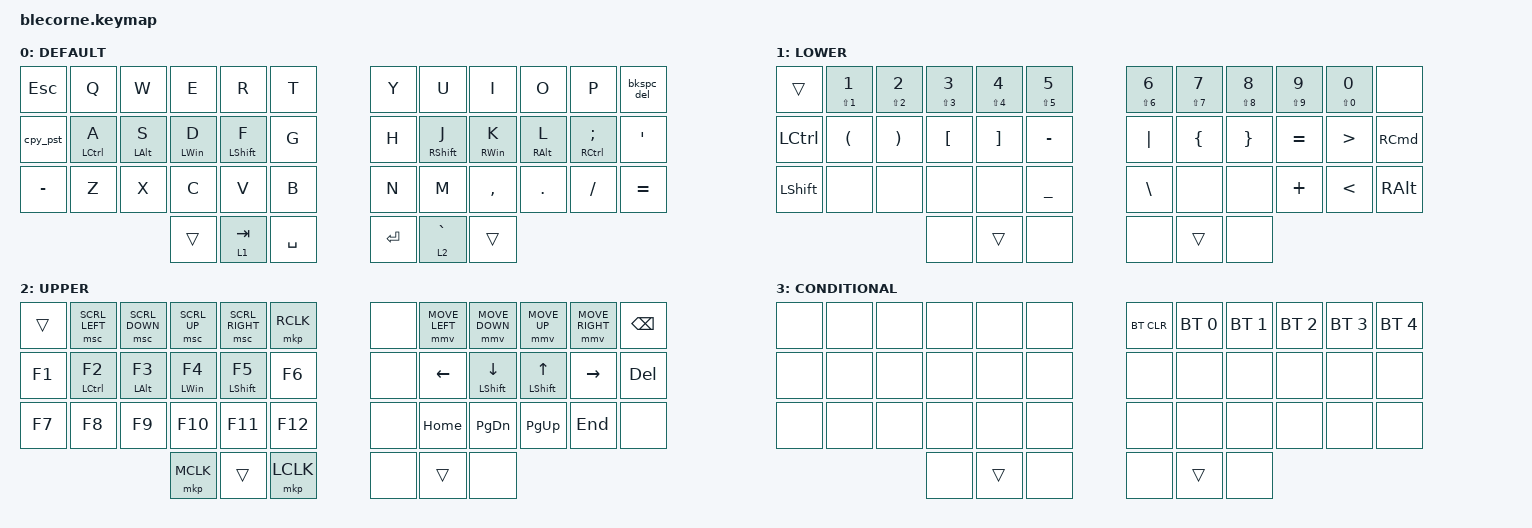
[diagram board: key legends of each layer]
/*
*
* Copyright (c) 2021 Darryl deHaan
* SPDX-License-Identifier: MIT
*
*/

#include <behaviors.dtsi>
#include <dt-bindings/zmk/bt.h>
#include <dt-bindings/zmk/keys.h>
#include <dt-bindings/zmk/pointing.h>

&mt { tapping-term-ms = <300>; };

/ {
    chosen {
        zmk,physical-layout = &foostan_corne_6col_layout;

        // zmk,physical-layout = &foostan_corne_5col_layout;
    };
};

/ {
    behaviors {
        cpy_pst: cpy_pst {
            compatible = "zmk,behavior-tap-dance";
            label = "CPY_PST";
            #binding-cells = <0>;
            bindings = <&kp LC(C)>, <&kp LC(V)>;

            tapping-term-ms = <300>;
        };

        hml: hml {
            compatible = "zmk,behavior-hold-tap";
            label = "HML";
            bindings = <&kp>, <&kp>;

            #binding-cells = <2>;
            tapping-term-ms = <250>;
            quick-tap-ms = <0>;
            flavor = "balanced";
            hold-trigger-key-positions = <36 37 38 39 40 41 30 18 6 7 31 19 8 20 32 33 21 9 10 22 35 34 23 11 0 1 2 3 4 5 12 17 24 25 26 27 28 29>;
            require-prior-idle-ms = <(-1)>;
        };

        hmr: hmr {
            compatible = "zmk,behavior-hold-tap";
            label = "HMR";
            bindings = <&kp>, <&kp>;

            #binding-cells = <2>;
            tapping-term-ms = <250>;
            quick-tap-ms = <0>;
            flavor = "balanced";
            hold-trigger-key-positions = <41 40 39 0 1 2 3 4 5 12 13 14 15 16 17 24 25 26 27 28 29 36 37 38 6 7 8 9 10 11 18 23 30 31 32 33 34 35 39 40 41>;
            require-prior-idle-ms = <(-1)>;
        };

        bkspc_del: bkspc_del {
            compatible = "zmk,behavior-mod-morph";
            label = "BKSPC_DEL";
            bindings = <&kp BACKSPACE>, <&kp DELETE>;

            #binding-cells = <0>;
            mods = <(MOD_LSFT|MOD_RSFT)>;
        };
    };

    combos {
        compatible = "zmk,combos";

        minus {
            bindings = <&kp MINUS>;
            key-positions = <4 7>;
            layers = <0>;
        };

        underscore {
            bindings = <&kp UNDERSCORE>;
            key-positions = <28 31>;
            layers = <0>;
        };

        equals {
            bindings = <&kp EQUAL>;
            key-positions = <17 18>;
            layers = <0>;
        };

        CapsWord {
            bindings = <&caps_word>;
            key-positions = <5 6>;
        };

        l_bracket {
            bindings = <&kp LEFT_BRACKET>;
            key-positions = <13 14>;
            layers = <0>;
        };

        r_bracket {
            bindings = <&kp RIGHT_BRACKET>;
            key-positions = <22 21>;
            layers = <0>;
        };

        plus {
            bindings = <&kp PLUS>;
            key-positions = <29 30>;
            layers = <0>;
        };

        l_parenthesis {
            bindings = <&kp LEFT_PARENTHESIS>;
            key-positions = <14 15>;
            layers = <0>;
        };

        r_parenthesis {
            bindings = <&kp RIGHT_PARENTHESIS>;
            key-positions = <20 21>;
            layers = <0>;
        };

        l_brace {
            bindings = <&kp LEFT_BRACE>;
            key-positions = <15 16>;
            layers = <0>;
        };

        r_brace {
            bindings = <&kp RIGHT_BRACE>;
            key-positions = <19 20>;
            layers = <0>;
        };

        lock_power {
            bindings = <&kp C_POWER>;
            key-positions = <0 11>;
        };
    };

    keymap {
        compatible = "zmk,keymap";

        default {
            bindings = <
&kp ESCAPE  &kp Q                &kp W            &kp E            &kp R              &kp T        &kp Y      &kp U               &kp I             &kp O             &kp P                         &bkspc_del
&cpy_pst    &hml LEFT_CONTROL A  &hml LEFT_ALT S  &hml LEFT_WIN D  &hml LEFT_SHIFT F  &kp G        &kp H      &hmr RIGHT_SHIFT J  &hmr RIGHT_WIN K  &hmr RIGHT_ALT L  &hmr RIGHT_CONTROL SEMICOLON  &kp APOS
&kp MINUS   &kp Z                &kp X            &kp C            &kp V              &kp B        &kp N      &kp M               &kp COMMA         &kp DOT           &kp FSLH                      &kp EQUAL
                                                  &trans           &lt 1 TAB          &kp SPACE    &kp ENTER  &lt 2 GRAVE         &trans
            >;

            label = "DEFAULT";
        };

        num_sym {
            bindings = <
&trans            &mt LS(NUMBER_1) NUMBER_1  &mt LS(NUMBER_2) NUMBER_2  &mt LS(NUMBER_3) NUMBER_3  &mt LS(NUMBER_4) NUMBER_4  &mt LS(NUMBER_5) NUMBER_5    &mt LS(NUMBER_6) NUMBER_6  &mt LS(NUMBER_7) NUMBER_7  &mt LS(NUMBER_8) NUMBER_8  &mt LS(NUMBER_9) NUMBER_9  &mt LS(NUMBER_0) NUMBER_0  &none
&kp LEFT_CONTROL  &kp LEFT_PARENTHESIS       &kp RIGHT_PARENTHESIS      &kp LEFT_BRACKET           &kp RIGHT_BRACKET          &kp MINUS                    &kp PIPE                   &kp LEFT_BRACE             &kp RIGHT_BRACE            &kp EQUAL                  &kp GREATER_THAN           &kp RIGHT_COMMAND
&kp LEFT_SHIFT    &none                      &none                      &none                      &none                      &kp UNDERSCORE               &kp BACKSLASH              &none                      &none                      &kp PLUS                   &kp LESS_THAN              &kp RIGHT_ALT
                                                                        &none                      &trans                     &none                        &none                      &trans                     &none
            >;

            label = "LOWER";
        };

        fnc_nav {
            bindings = <
&trans  &msc SCRL_LEFT        &msc SCRL_DOWN    &msc SCRL_UP      &msc SCRL_RIGHT     &mkp RCLK    &none  &mmv MOVE_LEFT  &mmv MOVE_DOWN              &mmv MOVE_UP              &mmv MOVE_RIGHT  &kp BACKSPACE
&kp F1  &hml LEFT_CONTROL F2  &hml LEFT_ALT F3  &hml LEFT_WIN F4  &hml LEFT_SHIFT F5  &kp F6       &none  &kp LEFT_ARROW  &hml LEFT_SHIFT DOWN_ARROW  &hml LEFT_SHIFT UP_ARROW  &kp RIGHT_ARROW  &kp DELETE
&kp F7  &kp F8                &kp F9            &kp F10           &kp F11             &kp F12      &none  &kp HOME        &kp PAGE_DOWN               &kp PAGE_UP               &kp END          &none
                                                &mkp MCLK         &trans              &mkp LCLK    &none  &trans          &none
            >;

            label = "UPPER";
        };

        system {
            bindings = <
&none  &none  &none  &none  &none   &none    &bt BT_CLR  &bt BT_SEL 0  &bt BT_SEL 1  &bt BT_SEL 2  &bt BT_SEL 3  &bt BT_SEL 4
&none  &none  &none  &none  &none   &none    &none       &none         &none         &none         &none         &none
&none  &none  &none  &none  &none   &none    &none       &none         &none         &none         &none         &none
                     &none  &trans  &none    &none       &trans        &none
            >;

            label = "CONDITIONAL";
        };
    };

    conditional_layers {
        compatible = "zmk,conditional-layers";

        conditional_layer {
            if-layers = <1 2>;
            then-layer = <3>;
        };
    };
};
